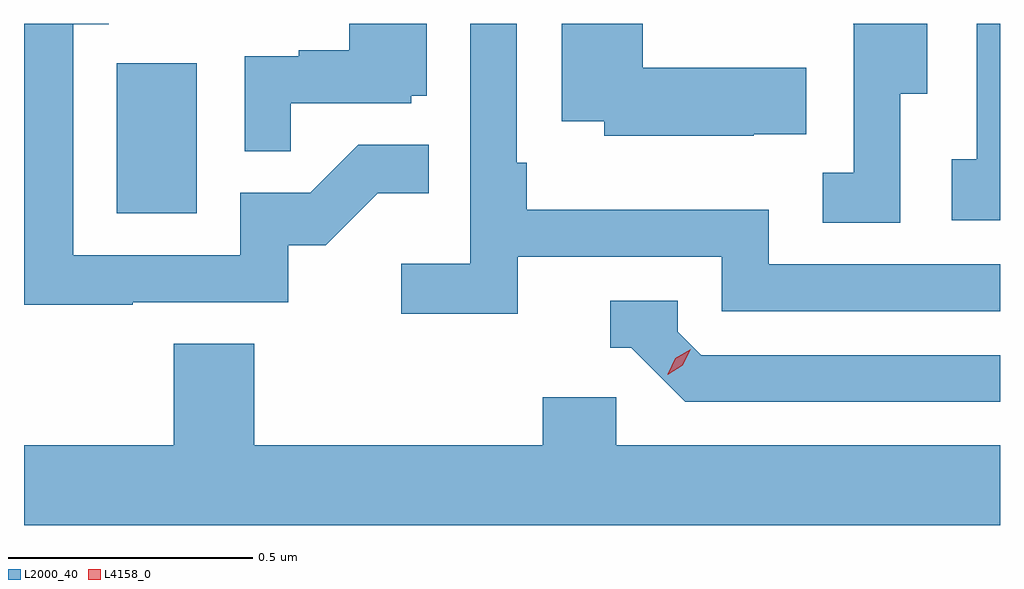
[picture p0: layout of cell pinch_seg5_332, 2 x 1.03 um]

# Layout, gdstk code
import gdstk
lib = gdstk.Library(unit=1e-6, precision=1e-09)
def R(c, l, rs):  # rectangles x0, y0, x1, y1
    for r in rs: c.add(gdstk.rectangle(r[:2], r[2:], *l))
def P(c, l, *ps):  # polygons
    for p in ps: c.add(gdstk.Polygon(p, *l))
L2000_40 = (2000, 40)
L4158_0 = (4158, 0)

pinch_seg5_332 = lib.new_cell('pinch_seg5_332')
R(pinch_seg5_332, L2000_40, [(941.654,888.036,941.818,888.343)])
P(pinch_seg5_332, L2000_40, [(943.26,888.28),(943.315,888.28),(943.315,888.424),(943.163,888.424),(943.163,888.423),(943.164,888.423),(943.164,888.119),(943.101,888.119),(943.101,888.016),(943.26,888.016)],
  [(942.476,887.946),(942.894,887.946),(942.894,887.835),(943.464,887.835),(943.464,887.931),(942.99,887.931),(942.99,888.043),(942.494,888.043),(942.494,888.139),(942.474,888.139),(942.474,888.424),(942.378,888.424),(942.378,887.932),(942.237,887.932),(942.237,887.83),(942.476,887.83)],
  [(941.687,887.853),(942.006,887.853),(942.006,887.97),(942.082,887.97),(942.189,888.077),(942.293,888.077),(942.293,888.176),(942.149,888.176),(942.051,888.078),(941.907,888.078),(941.907,887.949),(941.565,887.949),(941.565,888.423),(941.638,888.423),(941.638,888.424),(941.464,888.424),(941.464,887.848),(941.687,887.848)],
  [(942.959,888.197),(943.067,888.197),(943.067,888.334),(942.732,888.334),(942.732,888.424),(942.566,888.424),(942.566,888.224),(942.653,888.224),(942.653,888.194),(942.959,888.194)],
  [(943.464,888.424),(943.416,888.424),(943.416,888.146),(943.365,888.146),(943.365,888.021),(943.464,888.021)],
  [(942.011,888.261),(942.258,888.261),(942.258,888.276),(942.289,888.276),(942.289,888.424),(942.131,888.424),(942.131,888.37),(942.027,888.37),(942.027,888.357),(941.916,888.357),(941.916,888.163),(942.011,888.163)],
  [(943.464,887.745),(942.852,887.745),(942.804,887.793),(942.804,887.856),(942.665,887.856),(942.665,887.76),(942.708,887.76),(942.819,887.649),(943.464,887.649)],
  [(943.464,887.56),(942.678,887.56),(942.678,887.658),(942.527,887.658),(942.527,887.56),(941.936,887.56),(941.936,887.768),(941.771,887.768),(941.771,887.56),(941.464,887.56),(941.464,887.396),(943.464,887.396)])
P(pinch_seg5_332, L4158_0, [(942.783,887.705),(942.783,887.706),(942.799,887.738),(942.83,887.757),(942.83,887.757),(942.83,887.757),(942.814,887.724),(942.783,887.705)])

lib.write_gds('pinch_seg5_332.gds')
